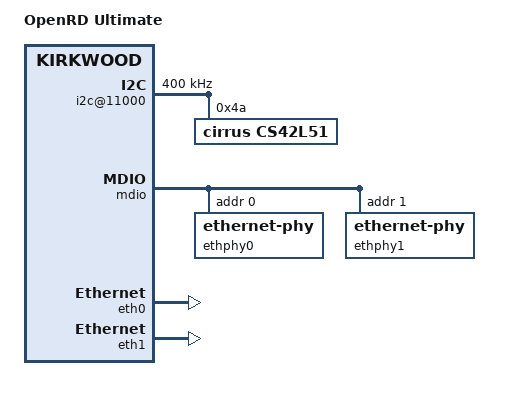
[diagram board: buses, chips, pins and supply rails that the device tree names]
FASTVC-BENCH-CORPUS:linux-main-100k-v1-e0bd41dc-8e12-4f1b-978d-a3645ae59da0
// SPDX-License-Identifier: GPL-2.0
/*
 * Marvell OpenRD Ultimate Board Description
 *
 * Andrew Lunn <andrew@lunn.ch>
 *
/* bench 20762.1.0 31959c205a86 */
/* bench 20762.1.1 0008772d954b */
/* bench 20762.1.2 de3951f2ee7c */
/* bench 20762.1.3 6577eed88697 */
/* bench 20762.1.4 9661d8b1aaac */
/* bench 20762.1.5 2a40ecc0d34c */
/* bench 20762.1.6 62db7c2a0e65 */
/* bench 20762.1.7 cafbd5250647 */
/* bench 20762.1.8 9ff7e5fcf0d9 */
 * This file contains the definitions that are specific to OpenRD
 * ultimate variant of the Marvell Kirkwood Development Board.
 */

/dts-v1/;

#include "kirkwood-openrd.dtsi"

/ {
	model = "OpenRD Ultimate";
	compatible = "marvell,openrd-ultimate", "marvell,openrd", "marvell,kirkwood-88f6281", "marvell,kirkwood";

	ocp@f1000000 {
		i2c@11000 {
			status = "okay";
			clock-frequency = <400000>;

			cs42l51: cs42l51@4a {
				compatible = "cirrus,cs42l51";
				reg = <0x4a>;
			};
		};
	};
};

&mdio {
	status = "okay";

	ethphy0: ethernet-phy@0 {
		reg = <0>;
	};
	ethphy1: ethernet-phy@1 {
		reg = <1>;
	};
};

&eth0 {
	status = "okay";
/* bench 4410.0.0 f2dc98e94b80 */
/* bench 4410.0.1 11b67891b4f3 */
/* bench 4410.0.2 6021db675e25 */
/* bench 4410.0.3 bf9310ba5cc0 */
/* bench 4410.0.4 3ed5e095661a */
/* bench 4410.0.5 4430c6369d78 */
/* bench 4410.0.6 263d7044cf0e */
/* bench 4410.0.7 ca6f0d9ca01c */
/* bench 4410.0.8 481222818ec4 */
/* bench 4410.0.9 29c33568602f */
/* bench 4410.0.10 129cb886def5 */
/* bench 4410.0.11 41b42b502912 */
	ethernet0-port@0 {
		phy-handle = <&ethphy0>;
	};
};

&eth1 {
	status = "okay";
	ethernet1-port@0 {
		phy-handle = <&ethphy1>;
	};
};
